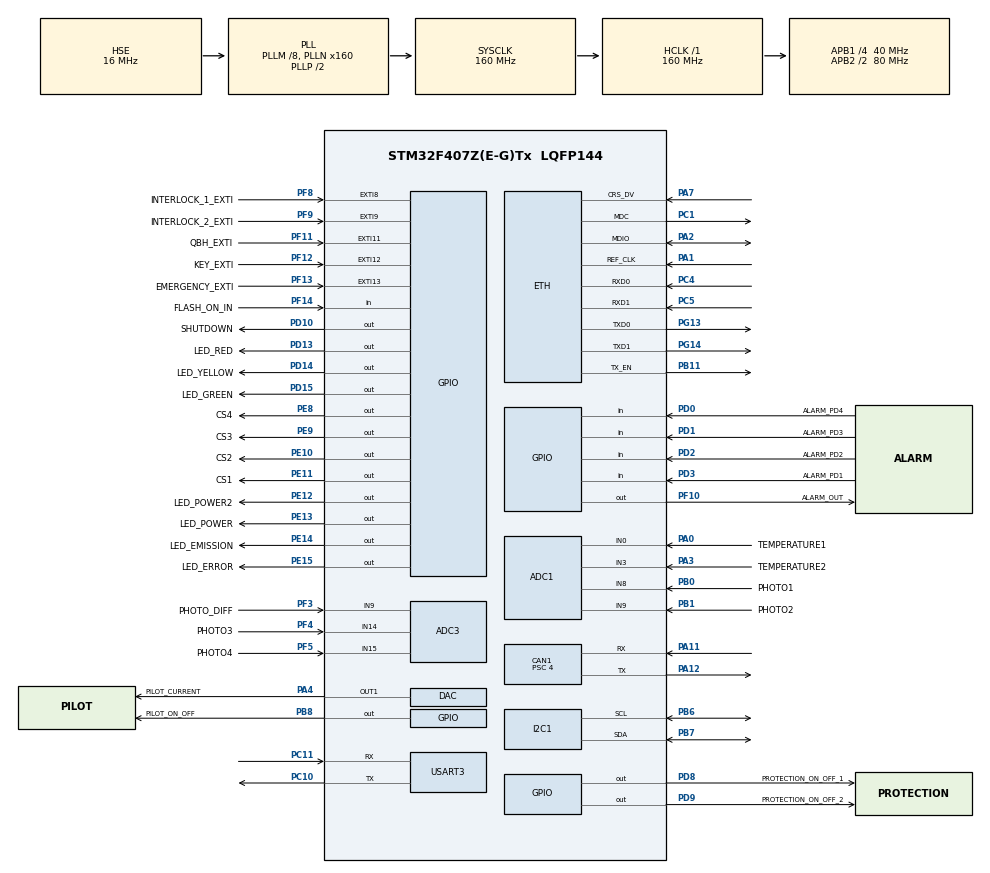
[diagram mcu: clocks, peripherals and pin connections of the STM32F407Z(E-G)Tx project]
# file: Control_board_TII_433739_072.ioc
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ADC1.Channel-0\#ChannelRegularConversion=ADC_CHANNEL_0
ADC1.Channel-1\#ChannelRegularConversion=ADC_CHANNEL_3
ADC1.Channel-2\#ChannelRegularConversion=ADC_CHANNEL_8
ADC1.Channel-3\#ChannelRegularConversion=ADC_CHANNEL_9
ADC1.ClockPrescaler=ADC_CLOCK_SYNC_PCLK_DIV4
ADC1.DMAContinuousRequests=ENABLE
ADC1.ExternalTrigConv=ADC_EXTERNALTRIGCONV_T3_CC1
ADC1.NbrOfConversion=4
ADC1.NbrOfConversionFlag=1
ADC1.Rank-0\#ChannelRegularConversion=1
ADC1.Rank-1\#ChannelRegularConversion=2
ADC1.Rank-2\#ChannelRegularConversion=3
ADC1.Rank-3\#ChannelRegularConversion=4
ADC1.SamplingTime-0\#ChannelRegularConversion=ADC_SAMPLETIME_28CYCLES
ADC1.SamplingTime-1\#ChannelRegularConversion=ADC_SAMPLETIME_28CYCLES
ADC1.SamplingTime-2\#ChannelRegularConversion=ADC_SAMPLETIME_28CYCLES
ADC1.SamplingTime-3\#ChannelRegularConversion=ADC_SAMPLETIME_28CYCLES
ADC1.master=1
ADC3.Channel-0\#ChannelRegularConversion=ADC_CHANNEL_9
ADC3.Channel-1\#ChannelRegularConversion=ADC_CHANNEL_14
ADC3.Channel-2\#ChannelRegularConversion=ADC_CHANNEL_15
ADC3.ClockPrescaler=ADC_CLOCK_SYNC_PCLK_DIV4
ADC3.DMAContinuousRequests=ENABLE
ADC3.ExternalTrigConv=ADC_EXTERNALTRIGCONV_T3_CC1
ADC3.NbrOfConversion=3
ADC3.NbrOfConversionFlag=1
ADC3.Rank-0\#ChannelRegularConversion=1
ADC3.Rank-1\#ChannelRegularConversion=2
ADC3.Rank-2\#ChannelRegularConversion=3
ADC3.SamplingTime-0\#ChannelRegularConversion=ADC_SAMPLETIME_28CYCLES
ADC3.SamplingTime-1\#ChannelRegularConversion=ADC_SAMPLETIME_28CYCLES
ADC3.SamplingTime-2\#ChannelRegularConversion=ADC_SAMPLETIME_28CYCLES
CAN1.BS1=CAN_BS1_11TQ
CAN1.BS2=CAN_BS2_8TQ
CAN1.CalculateBaudRate=500000
CAN1.CalculateTimeBit=2000
CAN1.CalculateTimeQuantum=100.0
CAN1.Prescaler=4
Dma.ADC1.0.Direction=DMA_PERIPH_TO_MEMORY
Dma.ADC1.0.FIFOMode=DMA_FIFOMODE_DISABLE
Dma.ADC1.0.Instance=DMA2_Stream0
Dma.ADC1.0.MemDataAlignment=DMA_MDATAALIGN_HALFWORD
Dma.ADC1.0.MemInc=DMA_MINC_ENABLE
Dma.ADC1.0.Mode=DMA_CIRCULAR
Dma.ADC1.0.PeriphDataAlignment=DMA_PDATAALIGN_HALFWORD
Dma.ADC1.0.PeriphInc=DMA_PINC_DISABLE
Dma.ADC1.0.Priority=DMA_PRIORITY_LOW
Dma.ADC3.1.Direction=DMA_PERIPH_TO_MEMORY
Dma.ADC3.1.FIFOMode=DMA_FIFOMODE_DISABLE
Dma.ADC3.1.Instance=DMA2_Stream1
Dma.ADC3.1.MemDataAlignment=DMA_MDATAALIGN_HALFWORD
Dma.ADC3.1.MemInc=DMA_MINC_ENABLE
Dma.ADC3.1.Mode=DMA_CIRCULAR
Dma.ADC3.1.PeriphDataAlignment=DMA_PDATAALIGN_HALFWORD
Dma.ADC3.1.PeriphInc=DMA_PINC_DISABLE
Dma.ADC3.1.Priority=DMA_PRIORITY_LOW
Dma.Request0=ADC1
Dma.Request1=ADC3
ETH.MACAddr=00\:80\:E1\:00\:00\:0B
ETH.MediaInterface=HAL_ETH_RMII_MODE
ETH.PHY_DUPLEX_STATUS=0x0010
ETH.PHY_Name_RMII=DP83848_PHY_ADDRESS
ETH.PHY_SPEED_STATUS=0x0004
ETH.PHY_SR=0x1F
ETH.PhyAddress=3
FREERTOS.Mutexes01=CanMutex,Dynamic,NULL
FREERTOS.Tasks01=main_task,0,2048,h_main_task,Default,NULL,Dynamic,NULL,NULL;indi_task,0,256,h_indi_task,Default,NULL,Dynamic,NULL,NULL;server_task,0,2048,h_server_task,Default,NULL,Dynamic,NULL,NULL;toolsTask,0,512,h_tools,Default,NULL,Dynamic,NULL,NULL
FREERTOS.configTOTAL_HEAP_SIZE=40000
FREERTOS.configUSE_NEWLIB_REENTRANT=1
FREERTOS.copyHeapFile=1
LWIP.BSP.number=1
LWIP.LWIP_DHCP=0
LWIP.LWIP_NETIF_LOOPBACK=1
LWIP.LWIP_NETIF_STATUS_CALLBACK=1
LWIP.LWIP_SO_RCVTIMEO=1
LWIP.LWIP_SO_SNDRCVTIMEO_NONSTANDARD=0
LWIP.LWIP_SO_SNDTIMEO=1
LWIP.LWIP_UDP=0
LWIP.MEMP_NUM_TCP_PCB=1
LWIP.MEMP_NUM_UDP_PCB=1
LWIP.MEM_SIZE=4096
LWIP.NETMASK_ADDRESS=255.255.255.000
LWIP.TCPIP_MBOX_SIZE=12
LWIP.TCPIP_THREAD_PRIO=1
LWIP.TCPIP_THREAD_STACKSIZE=2048
LWIP.Version=v2.1.2_Cube
LWIP0.BSP.STBoard=false
LWIP0.BSP.api=BSP_COMPONENT_DRIVER
LWIP0.BSP.component=DP83848
LWIP0.BSP.instance=DP83848
LWIP0.BSP.name=Driver_PHY
LWIP0.BSP.semaphore=S_DP83848
LWIP0.BSP.solution=DP83848
Mcu.Family=STM32F4
Mcu.Name=STM32F407Z(E-G)Tx
Mcu.Package=LQFP144
NVIC.CAN1_RX0_IRQn=true\:5\:0\:false\:false\:true\:true\:true\:true\:true
NVIC.DMA2_Stream0_IRQn=true\:5\:0\:false\:false\:true\:true\:false\:true\:true
NVIC.DMA2_Stream1_IRQn=true\:5\:0\:false\:false\:true\:true\:false\:true\:true
NVIC.ETH_IRQn=true\:5\:0\:false\:false\:true\:true\:true\:true\:true
NVIC.PriorityGroup=NVIC_PRIORITYGROUP_4
NVIC.TIM6_DAC_IRQn=true\:15\:0\:false\:false\:true\:false\:true\:true\:true
NVIC.TimeBase=TIM6_DAC_IRQn
NVIC.TimeBaseIP=TIM6
NVIC.USART3_IRQn=true\:5\:0\:false\:false\:true\:true\:true\:true\:true
PA0-WKUP.GPIO_Label=TEMPERATURE1
PA0-WKUP.Signal=ADCx_IN0
PA1.Mode=RMII
PA1.Signal=ETH_REF_CLK
PA11.Mode=CAN_Activate
PA11.Signal=CAN1_RX
PA12.Mode=CAN_Activate
PA12.Signal=CAN1_TX
PA13.Mode=Serial_Wire
PA13.Signal=SYS_JTMS-SWDIO
PA14.Mode=Serial_Wire
PA14.Signal=SYS_JTCK-SWCLK
PA2.Mode=RMII
PA2.Signal=ETH_MDIO
PA3.GPIO_Label=TEMPERATURE2
PA3.Signal=ADCx_IN3
PA4.GPIO_Label=PILOT_CURRENT
PA4.Signal=COMP_DAC1_group
PA7.Mode=RMII
PA7.Signal=ETH_CRS_DV
PB0.GPIO_Label=PHOTO1
PB0.Signal=ADCx_IN8
PB1.GPIO_Label=PHOTO2
PB1.Signal=ADCx_IN9
PB11.Mode=RMII
PB11.Signal=ETH_TX_EN
PB6.Mode=I2C
PB6.Signal=I2C1_SCL
PB7.Mode=I2C
PB7.Signal=I2C1_SDA
PB8.GPIO_Label=PILOT_ON_OFF
PB8.Signal=GPIO_Output
PC1.Mode=RMII
PC1.Signal=ETH_MDC
PC10.Mode=Asynchronous
PC10.Signal=USART3_TX
PC11.Mode=Asynchronous
PC11.Signal=USART3_RX
PC4.Mode=RMII
PC4.Signal=ETH_RXD0
PC5.Mode=RMII
PC5.Signal=ETH_RXD1
PD0.GPIO_Label=ALARM_PD4
PD0.Signal=GPIO_Input
PD1.GPIO_Label=ALARM_PD3
PD1.Signal=GPIO_Input
PD10.GPIO_Label=SHUTDOWN
PD10.Signal=GPIO_Output
PD13.GPIO_Label=LED_RED
PD13.Signal=GPIO_Output
PD14.GPIO_Label=LED_YELLOW
PD14.Signal=GPIO_Output
PD15.GPIO_Label=LED_GREEN
PD15.Signal=GPIO_Output
PD2.GPIO_Label=ALARM_PD2
PD2.Signal=GPIO_Input
PD3.GPIO_Label=ALARM_PD1
PD3.Signal=GPIO_Input
PD8.GPIO_Label=PROTECTION_ON_OFF_1
PD8.Signal=GPIO_Output
PD9.GPIO_Label=PROTECTION_ON_OFF_2
PD9.Signal=GPIO_Output
PE10.GPIO_Label=CS2
PE10.Signal=GPIO_Output
PE11.GPIO_Label=CS1
PE11.Signal=GPIO_Output
PE12.GPIO_Label=LED_POWER2
PE12.Signal=GPIO_Output
PE13.GPIO_Label=LED_POWER
PE13.Signal=GPIO_Output
PE14.GPIO_Label=LED_EMISSION
PE14.Signal=GPIO_Output
PE15.GPIO_Label=LED_ERROR
PE15.Signal=GPIO_Output
PE8.GPIO_Label=CS4
PE8.Signal=GPIO_Output
PE9.GPIO_Label=CS3
PE9.Signal=GPIO_Output
PF10.GPIO_Label=ALARM_OUT
PF10.Signal=GPIO_Output
PF11.GPIO_Label=QBH_EXTI
PF11.Signal=GPXTI11
PF12.GPIO_Label=KEY_EXTI
PF12.Signal=GPXTI12
PF13.GPIO_Label=EMERGENCY_EXTI
PF13.Signal=GPXTI13
PF14.GPIO_Label=FLASH_ON_IN
PF14.Signal=GPIO_Input
PF3.GPIO_Label=PHOTO_DIFF
PF3.Mode=IN9
PF3.Signal=ADC3_IN9
PF4.GPIO_Label=PHOTO3
PF4.Mode=IN14
PF4.Signal=ADC3_IN14
PF5.GPIO_Label=PHOTO4
PF5.Mode=IN15
PF5.Signal=ADC3_IN15
PF8.GPIO_Label=INTERLOCK_1_EXTI
PF8.Signal=GPXTI8
PF9.GPIO_Label=INTERLOCK_2_EXTI
PF9.Signal=GPXTI9
PG13.Mode=RMII
PG13.Signal=ETH_TXD0
PG14.Mode=RMII
PG14.Signal=ETH_TXD1
PH0-OSC_IN.Mode=HSE-External-Clock-Source
PH0-OSC_IN.Signal=RCC_OSC_IN
PH1-OSC_OUT.Mode=HSE-External-Clock-Source
PH1-OSC_OUT.Signal=RCC_OSC_OUT
ProjectManager.HeapSize=0x400
ProjectManager.StackSize=0x800
ProjectManager.TargetToolchain=STM32CubeIDE
RCC.48MHZClocksFreq_Value=45714285.71428572
RCC.AHBFreq_Value=160000000
RCC.APB1CLKDivider=RCC_HCLK_DIV4
RCC.APB1Freq_Value=40000000
RCC.APB1TimFreq_Value=80000000
RCC.APB2CLKDivider=RCC_HCLK_DIV2
RCC.APB2Freq_Value=80000000
RCC.APB2TimFreq_Value=160000000
RCC.CortexFreq_Value=160000000
RCC.HCLKFreq_Value=160000000
RCC.HSE_VALUE=16000000
RCC.HSI_VALUE=16000000
RCC.LSE_VALUE=32768
RCC.PLLM=8
RCC.PLLN=160
RCC.PLLQ=7
RCC.PLLSourceVirtual=RCC_PLLSOURCE_HSE
RCC.SYSCLKFreq_VALUE=160000000
RCC.SYSCLKSource=RCC_SYSCLKSOURCE_PLLCLK
RCC.VCOOutputFreq_Value=320000000
SH.ADCx_IN0.0=ADC1_IN0,IN0
SH.ADCx_IN3.0=ADC1_IN3,IN3
SH.ADCx_IN8.0=ADC1_IN8,IN8
SH.ADCx_IN9.0=ADC1_IN9,IN9
SH.COMP_DAC1_group.0=DAC_OUT1,DAC_OUT1
TIM3.Channel-Output\ Compare1\ No\ Output=TIM_CHANNEL_1
TIM3.OCMode_1=TIM_OCMODE_TOGGLE
TIM3.Period=999
TIM3.Prescaler=159
USART3.VirtualMode=VM_ASYNC
VP_FREERTOS_VS_CMSIS_V1.Mode=CMSIS_V1
VP_LWIP_VS_Enabled.Mode=Enabled
VP_SYS_VS_tim6.Mode=TIM6
VP_TIM3_VS_ClockSourceINT.Mode=Internal
VP_TIM3_VS_no_output1.Mode=Output Compare1 No Output
board=custom

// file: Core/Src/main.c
/* USER CODE BEGIN Header */
/**
  ******************************************************************************
  * @file           : main.c
  * @brief          : Main program body
  ******************************************************************************
  * @attention
  *
  * Copyright (c) 2023 STMicroelectronics.
  * All rights reserved.
  *
  * This software is licensed under terms that can be found in the LICENSE file
  * in the root directory of this software component.
  * If no LICENSE file comes with this software, it is provided AS-IS.
  *
  ******************************************************************************
  */
/* USER CODE END Header */
#include "main.h"
#include "cmsis_os.h"
#include "adc.h"
#include "can.h"
#include "dac.h"
#include "dma.h"
#include "i2c.h"
#include "lwip.h"
#include "tim.h"
#include "usart.h"
#include "gpio.h"

void SystemClock_Config(void);
void MX_FREERTOS_Init(void);

int main(void)
{

  /* MCU Configuration--------------------------------------------------------*/

  /* Reset of all peripherals, Initializes the Flash interface and the Systick. */
  HAL_Init();

  /* USER CODE BEGIN Init */
  HAL_Delay(1000);
  /* USER CODE END Init */

  /* Configure the system clock */
  SystemClock_Config();

  /* Initialize all configured peripherals */
  MX_GPIO_Init();
  MX_DMA_Init();
  MX_CAN1_Init();
  MX_USART3_UART_Init();
  MX_ADC1_Init();
  MX_ADC3_Init();
  MX_DAC_Init();
  MX_I2C1_Init();
  MX_TIM3_Init();

  /* Call init function for freertos objects (in cmsis_os2.c) */
  MX_FREERTOS_Init();

  /* Start scheduler */
  osKernelStart();

  /* We should never get here as control is now taken by the scheduler */

  /* Infinite loop */
  while (1)
  {

  }
}

void SystemClock_Config(void)
{
  RCC_OscInitTypeDef RCC_OscInitStruct = {0};
  RCC_ClkInitTypeDef RCC_ClkInitStruct = {0};

  /** Configure the main internal regulator output voltage
  */
  __HAL_RCC_PWR_CLK_ENABLE();
  __HAL_PWR_VOLTAGESCALING_CONFIG(PWR_REGULATOR_VOLTAGE_SCALE1);

  /** Initializes the RCC Oscillators according to the specified parameters
  * in the RCC_OscInitTypeDef structure.
  */
  RCC_OscInitStruct.OscillatorType = RCC_OSCILLATORTYPE_HSE;
  RCC_OscInitStruct.HSEState = RCC_HSE_BYPASS;
  RCC_OscInitStruct.PLL.PLLState = RCC_PLL_ON;
  RCC_OscInitStruct.PLL.PLLSource = RCC_PLLSOURCE_HSE;
  RCC_OscInitStruct.PLL.PLLM = 8;
  RCC_OscInitStruct.PLL.PLLN = 160;
  RCC_OscInitStruct.PLL.PLLP = RCC_PLLP_DIV2;
  RCC_OscInitStruct.PLL.PLLQ = 7;
  if (HAL_RCC_OscConfig(&RCC_OscInitStruct) != HAL_OK)
  {
    Error_Handler();
  }

  /** Initializes the CPU, AHB and APB buses clocks
  */
  RCC_ClkInitStruct.ClockType = RCC_CLOCKTYPE_HCLK|RCC_CLOCKTYPE_SYSCLK
                              |RCC_CLOCKTYPE_PCLK1|RCC_CLOCKTYPE_PCLK2;
  RCC_ClkInitStruct.SYSCLKSource = RCC_SYSCLKSOURCE_PLLCLK;
  RCC_ClkInitStruct.AHBCLKDivider = RCC_SYSCLK_DIV1;
  RCC_ClkInitStruct.APB1CLKDivider = RCC_HCLK_DIV4;
  RCC_ClkInitStruct.APB2CLKDivider = RCC_HCLK_DIV2;

  if (HAL_RCC_ClockConfig(&RCC_ClkInitStruct, FLASH_LATENCY_5) != HAL_OK)
  {
    Error_Handler();
  }
}

void HAL_TIM_PeriodElapsedCallback(TIM_HandleTypeDef *htim)
{
  if (htim->Instance == TIM6)
  {
    HAL_IncTick();
  }
}

void Error_Handler(void)
{
  __disable_irq();
  while (1)
  {
  }
}

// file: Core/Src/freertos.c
/* USER CODE BEGIN Header */
/**
  ******************************************************************************
  * File Name          : freertos.c
  * Description        : Code for freertos applications
  ******************************************************************************
  * @attention
  *
  * Copyright (c) 2023 STMicroelectronics.
  * All rights reserved.
  *
  * This software is licensed under terms that can be found in the LICENSE file
  * in the root directory of this software component.
  * If no LICENSE file comes with this software, it is provided AS-IS.
  *
  ******************************************************************************
  */
#include "../Inc/main.h"
#ifndef TB_DEF
/* USER CODE END Header */

#include "FreeRTOS.h"
#include "task.h"
#include "main.h"
#include "cmsis_os.h"

/* USER CODE BEGIN Includes */
#endif
#include "../Inc/tools.h"
#include "../Inc/global.h"
#include "../Inc/can.h"
#include "../Inc/server.h"
#include "../Inc/commands_handler.h"
#include "../Inc/hardware.h"
#include "../../board_prj_driver_lib/tools/temp_control.h"
#include "../../board_prj_driver_lib/tools/adc_handler.h"
#include "../../board_prj_driver_lib/tools/temp_calc.h"

/* USER CODE END Includes */

/* USER CODE BEGIN Variables */
device_struct mcs_storage;

UART_HandleTypeDef *main_huart = &huart3;
uint8_t main_uart_byte;

#if HPLD_1000_COUNT > 0
	uint8_t hpld_1000_can_id[HPLD_1000_COUNT] = {1,2};
#endif
#if HPLD_1500_COUNT > 0
	uint8_t hpld_1500_can_id[HPLD_1500_COUNT] = {3,4,5,6,7,8,9};
#endif
#if TEC3_COUNT > 0
	uint8_t tec3_can_id[TEC3_COUNT] = {3,4,5,6};
#endif
#if CB_COUNT > 0
	uint8_t cb_can_id[TEC3_COUNT] = {1};
#endif

/* Definitions for dev_refresh_task */
int dev_refresh_task_state = 0;
osThreadId  dev_refresh_taskHandle;
osThreadId  oriental_laser_taskHandle;

QueueHandle_t  ind_queueHandle;
QueueHandle_t int_can_mess_queue;
QueueHandle_t send_can_mess_queue;
QueueHandle_t link_queueHandle;
QueueHandle_t tcp_rx_data_queue;
volatile uint8_t tcp_rx_overflow = 0;
QueueHandle_t  exti_alarm_queueHandle;
QueueHandle_t  debugger_queueHandle;
QueueHandle_t rs232_rx_data_queue;

uint16_t ADC1_data[4];
uint16_t ADC3_data[3];

/* USER CODE END Variables */
osThreadId main_taskHandle;
osThreadId indi_taskHandle;
osThreadId server_taskHandle;
osThreadId toolsTaskHandle;
osMutexId CanMutexHandle;

/* USER CODE BEGIN FunctionPrototypes */
void TEC_temperature_check(device_struct* mcs);
void dev_refresh_task_h(const void *argument);
/* USER CODE END FunctionPrototypes */

void h_main_task(void const * argument);
void h_indi_task(void const * argument);
void h_server_task(void const * argument);
void h_tools(void const * argument);

extern void MX_LWIP_Init(void);
void MX_FREERTOS_Init(void); /* (MISRA C 2004 rule 8.1) */

/* GetIdleTaskMemory prototype (linked to static allocation support) */
void vApplicationGetIdleTaskMemory( StaticTask_t **ppxIdleTaskTCBBuffer, StackType_t **ppxIdleTaskStackBuffer, uint32_t *pulIdleTaskStackSize );

/* USER CODE BEGIN GET_IDLE_TASK_MEMORY */
static StaticTask_t xIdleTaskTCBBuffer;
static StackType_t xIdleStack[configMINIMAL_STACK_SIZE];
#ifndef TB_DEF
void vApplicationGetIdleTaskMemory( StaticTask_t **ppxIdleTaskTCBBuffer, StackType_t **ppxIdleTaskStackBuffer, uint32_t *pulIdleTaskStackSize )
{
  *ppxIdleTaskTCBBuffer = &xIdleTaskTCBBuffer;
  *ppxIdleTaskStackBuffer = &xIdleStack[0];
  *pulIdleTaskStackSize = configMINIMAL_STACK_SIZE;
  /* place for user code */
}
#endif
/* USER CODE END GET_IDLE_TASK_MEMORY */

void MX_FREERTOS_Init(void) {
  /* USER CODE BEGIN Init */
	read_last_config_data(&mcs_storage.config);
  /* USER CODE END Init */
  /* Create the mutex(es) */
  /* definition and creation of CanMutex */
  osMutexDef(CanMutex);
  CanMutexHandle = osMutexCreate(osMutex(CanMutex));

  /* USER CODE BEGIN RTOS_QUEUES */
	/* add queues, ... */
	ind_queueHandle = xQueueCreate(10, sizeof(uint8_t));
	int_can_mess_queue = xQueueCreate(5, sizeof(can_message_struct));
	send_can_mess_queue = xQueueCreate(2, sizeof(can_message_struct_tx));
	link_queueHandle = xQueueCreate(5, sizeof(uint8_t));
	tcp_rx_data_queue  = xQueueCreate(TCP_QUEUE_BUF_SIZE, sizeof(char));
	rs232_rx_data_queue  = xQueueCreate(RS232_QUEUE_BUF_SIZE, sizeof(char));
  /* USER CODE END RTOS_QUEUES */

  /* Create the thread(s) */
  /* definition and creation of main_task */
  osThreadDef(main_task, h_main_task, osPriorityNormal, 0, 2048);
  main_taskHandle = osThreadCreate(osThread(main_task), NULL);

  /* definition and creation of indi_task */
  osThreadDef(indi_task, h_indi_task, osPriorityNormal, 0, 256);
  indi_taskHandle = osThreadCreate(osThread(indi_task), NULL);

  /* definition and creation of server_task */
  osThreadDef(server_task, h_server_task, osPriorityNormal, 0, 2048);
  server_taskHandle = osThreadCreate(osThread(server_task), NULL);

  /* definition and creation of toolsTask */
  osThreadDef(toolsTask, h_tools, osPriorityNormal, 0, 512);
  toolsTaskHandle = osThreadCreate(osThread(toolsTask), NULL);

  /* USER CODE BEGIN RTOS_THREADS */
	/* add threads, ... */
  osThreadSuspend(server_taskHandle);
  osThreadSuspend(indi_taskHandle);
  osThreadSuspend(toolsTaskHandle);
  /* USER CODE END RTOS_THREADS */

}

void h_main_task(void const * argument)
{
  /* init code for LWIP */
  MX_LWIP_Init();
  /* USER CODE BEGIN h_main_task */
	device_struct *mcs = &mcs_storage;
	char debug_buffer [1000];

	char tcp_buffer [TCP_QUEUE_BUF_SIZE];
	char resp [1000];
	long tcp_buffer_ind = 0 ;
	int discard_tcp_line = 0;

	for(int try = 0; try < 3;try++){
		alarm_and_state_handler(mcs);
#ifndef TB_DEF
		osDelay(100);
#endif
	}

	leds_init (&mcs->leds);
	mcs->leds.panel.power.on();
	mcs->leds.panel.ps_active.on();
	set_shutdown_state(mcs, 0);

	can_configure_filters(&hcan1, MCS_CAN_ID);
	can_start_module(&hcan1);
	osDelay(3000);

#if HPLD_1500_COUNT > 0
	for(uint16_t i = 0; i < HPLD_1500_COUNT;i++)
		hpld_1500_init(&mcs->hpld_1500[i],&hcan1,hpld_1500_can_id[i],&int_can_mess_queue,CanMutexHandle);
#endif
#if HPLD_1000_COUNT > 0
	for(uint16_t i = 0; i < HPLD_1000_COUNT;i++)
		hpld_1000_init(&mcs->hpld_1000[i],&hcan1,hpld_1000_can_id[i],&int_can_mess_queue,CanMutexHandle);
#endif

	osThreadResume(server_taskHandle);
	osThreadResume(indi_taskHandle);
//	osThreadResume(can_sendHandle);
	osThreadResume(toolsTaskHandle);

    for(int i = 0; i < ALARM_PD_COUNT; i ++)
    	if(mcs->config.alarm_pd_lvl[i] >=0 && mcs->config.alarm_pd_lvl[i] <= 3)
    		set_pd_level_value(i, mcs->config.alarm_pd_lvl[i]);

    for(int i = 0; i < PROTECTION_ONOFF_COUNT; i++)
    	if(mcs->config.protection_state[i] >= 0 && mcs->config.protection_state[i] <= 1)
    		set_protection_state(i, mcs->config.protection_state[i]);

	 osThreadDef ( dev_refresh , dev_refresh_task_h, osPriorityNormal, 1, 256);
	 dev_refresh_taskHandle = osThreadCreate(osThread(dev_refresh), NULL);

	/* Infinite loop */
	for(;;)
	{
		HAL_UART_Receive_IT ( main_huart , &main_uart_byte , 1 ) ;
		if(tcp_rx_overflow)
		{
			tcp_rx_overflow = 0;
			tcp_buffer_ind = 0;
			discard_tcp_line = 0;
		}

		char received_char;
		if (xQueueReceive(tcp_rx_data_queue, &received_char, 0) == pdPASS) {
			if(tcp_rx_overflow)
			{
				tcp_rx_overflow = 0;
				tcp_buffer_ind = 0;
				discard_tcp_line = 0;
				continue;
			}

			if (received_char == '\r' || received_char == '\n')
			{
				if(discard_tcp_line)
					debug_mess("Input command too long; discarded\r\n");
				else if(tcp_buffer_ind > 0)
				{
					tcp_buffer[tcp_buffer_ind] = '\0';
					CommandsHandler(mcs, resp, debug_buffer, tcp_buffer, 0);
				}
				tcp_buffer_ind = 0;
				discard_tcp_line = 0;
			}
			else if(!discard_tcp_line)
			{
				if(received_char == '\b')
				{
					if(tcp_buffer_ind > 0)
						tcp_buffer_ind--;
				}
				else if(tcp_buffer_ind < TCP_QUEUE_BUF_SIZE - 1)
					tcp_buffer[tcp_buffer_ind++] = received_char;
				else
				{
					tcp_buffer_ind = 0;
					discard_tcp_line = 1;
				}
			}
		}
		else {
			osDelay(1);
		}
		// clear response buffer to prepare for next cycle begin
		mcs->current_interface = get_interface_in();
		// clear response buffer to prepare for next cycle end
	}
  /* USER CODE END h_main_task */
}

void h_indi_task(void const * argument)
{
  /* USER CODE BEGIN h_indi_task */
	osDelay(100);
	/* Infinite loop */
	for(;;)
	{
		indication_handler(&ind_queueHandle, &mcs_storage);
		osDelay(1);
	}
  /* USER CODE END h_indi_task */
}

void h_server_task(void const * argument)
{
  /* USER CODE BEGIN h_server_task */
	osDelay(100);
	/* Infinite loop */
	for(;;)
	{
		server_handler(&tcp_rx_data_queue,&ind_queueHandle);
	}
  /* USER CODE END h_server_task */
}

void h_tools(void const * argument)
{
  /* USER CODE BEGIN h_tools */
	device_struct* mcs = &mcs_storage;

	if(THERMISTOR_COUNT < 2) Error_Handler();

	float *temps_to_check[] = {
		&mcs->user_mode.temperature[0],
		&mcs->user_mode.temperature[1],
//		&mcs->tec3[2].state.temp,
//		&mcs->tec3[3].state.temp,
//		&mcs->cb[0].state.temp[0],
//		&mcs->cb[0].state.temp[1]
	};
	float *temps_max_levels[] = {
		&mcs->config.temperature_lvl[0],
		&mcs->config.temperature_lvl[1],
//		&mcs->config.max_tec_temp_level[2],
//		&mcs->config.max_tec_temp_level[3],
//		&mcs->config.max_cb_temps_level[0],
//		&mcs->config.max_cb_temps_level[1]
	};
	const int num_temperatures = sizeof(temps_to_check) / sizeof(float);
	const int num_levels = sizeof(temps_max_levels) / sizeof(float);
	const float unused_fan_temp = -1.0;

	adc_link_data(&ADC1_data[0], &mcs->user_mode.temperature[0], ADC_TYPE_TEMP);
	adc_link_data(&ADC1_data[1], &mcs->user_mode.temperature[1], ADC_TYPE_TEMP);
	adc_link_data(&ADC1_data[2], &mcs->user_mode.photo[0], ADC_TYPE_VOLT);
	adc_link_data(&ADC1_data[3], &mcs->user_mode.photo[1], ADC_TYPE_VOLT);
	adc_link_data(&ADC3_data[1], &mcs->user_mode.photo[2], ADC_TYPE_VOLT);
	adc_link_data(&ADC3_data[2], &mcs->user_mode.photo[3], ADC_TYPE_VOLT);
	adc_link_data(&ADC3_data[0], &mcs->user_mode.photo_diff, ADC_TYPE_VOLT);
#ifndef TB_DEF
	adc_prepare(hadc1,htim3,TIM_CHANNEL_1,ADC1_data,4);
	adc_prepare(hadc3,htim3,TIM_CHANNEL_1,ADC3_data,3);
#else
	ADC1_data[0] = 2048;
	ADC1_data[1] = 1000;
	ADC1_data[2] = 1000;
	ADC1_data[3] = 1000;
	ADC3_data[1] = 2048;
	ADC3_data[2] = 1000;
	ADC3_data[3] = 1000;
#endif

	adc_set_therm_parameters(&mcs->config.therm_resi, &mcs->config.therm_beta, &mcs->config.v_ref);

  /* Infinite loop */
	for(;;)
	{
		int err = 0;
		// turn on external green led if needed

		alarm_and_state_handler (mcs);
		int overheat = 0;
		temp_control(temps_to_check, num_temperatures, unused_fan_temp, temps_max_levels, num_levels, &overheat);
		mcs->alarms.bits.overheat = overheat;

		mcs->user_mode.output_started = get_emission(mcs);
		if(mcs->user_mode.output_started == 0)
			mcs->user_mode.preamp_started = 0;

		{
			float summ_max_curr = 0.0f;
			float summ_curr = 0.0f;
			for(int i = 0; i < HPLD_1500_COUNT; i++)
			{
				summ_max_curr += mcs->config.hpld1500_curr[i] - mcs->config.hpld1500_diode_treshold[i];
				summ_curr += mcs->hpld_1500[i].state.current - mcs->config.hpld1500_diode_treshold[i];
			}
			if(summ_max_curr > 0.0f)
				mcs->user_mode.output_power = summ_curr/summ_max_curr * 100.0f;
			else
				mcs->user_mode.output_power = 0.0f;
		}

		adc_handler(mcs);

		err += get_error(mcs);

		// check if any HPLD is available, just in case, if it is not available, we should turn red led on
		for(int i = 0; i < HPLD_1000_COUNT; i++)
			err += !mcs->hpld_1000[i].available;
		for(int i = 0; i < HPLD_1500_COUNT; i++)
			err += !mcs->hpld_1500[i].available;

		// internal leds control
		(mcs->user_mode.output_started == 0)?mcs->leds.panel.emission.off():mcs->leds.panel.emission.on();
		(err == 0)?mcs->leds.panel.error.off():mcs->leds.panel.error.on();

		// we're not using mcs->user_mode.ld_tec_not_ready because it is only for user loop
		if(mcs->config.protection_state[0] != 0 && mcs->config.protection_state[1] != 0)
			if (mcs->alarms.val != 0 && mcs->user_mode.output_started) {
				user_mode_prepare ();
				create_usr_offtaskHandle ();
			}
		osDelay(1);
	}
  /* USER CODE END h_tools */
}

/* USER CODE BEGIN Application */

void dev_refresh_task_h(const void *argument)
{
	//	device_struct *mcs = &mcs_storage ;
	dev_refresh_task_state = 1;
	device_struct* mcs = &mcs_storage;
	/* Infinite loop */
	for(;;)
	{
#if HPLD_1500_COUNT > 0
		for(int i = 0; i < HPLD_1500_COUNT; i ++)
			refresh_hpld_1500_state(&mcs->hpld_1500[i]);
#endif
#if HPLD_1000_COUNT > 0
		for(int i = 0; i < HPLD_1000_COUNT; i ++)
			refresh_hpld_1000_state(&mcs->hpld_1000[i]);
#endif
		osDelay(10);
	}
	dev_refresh_task_state = 0;
}

void HAL_UART_RxCpltCallback ( UART_HandleTypeDef *huart )
{
	BaseType_t xHigherPriorityTaskWoken = pdFALSE ;
	if ( huart == main_huart){
		if ( xQueueSendFromISR ( tcp_rx_data_queue , ( &main_uart_byte ) ,
				&xHigherPriorityTaskWoken ) == pdPASS ){
// OK processing
			set_interface_in(INTERFACE_MAIN_UART) ;
		} else{
// ERROR processing
		}
		HAL_UART_Receive_IT ( main_huart , &main_uart_byte , 1 ) ;
	}

}

void HAL_CAN_RxFifo0MsgPendingCallback(CAN_HandleTypeDef *CanHandle)
{
	can_message_struct can_mess;
	BaseType_t xHigherPriorityTaskWoken = pdFALSE;
	int tmp = CAN_IND_REQ;

	if(CanHandle == &hcan1){
		if(HAL_CAN_GetRxMessage(CanHandle,CAN_RX_FIFO0,&can_mess.rx_header,can_mess.data) == HAL_OK){
			if(xQueueSendFromISR(int_can_mess_queue,&can_mess,&xHigherPriorityTaskWoken) != pdPASS){
				//Обработка ошибки
			}
			if(xQueueSendFromISR(ind_queueHandle,&tmp,&xHigherPriorityTaskWoken) != pdPASS){
				//Обработка ошибки
			}
		}
	}
}
/* USER CODE END Application */
